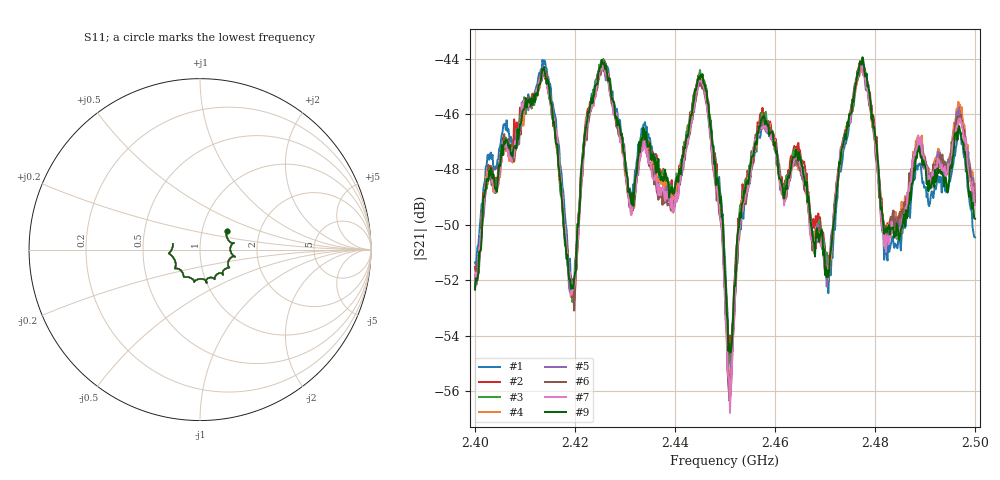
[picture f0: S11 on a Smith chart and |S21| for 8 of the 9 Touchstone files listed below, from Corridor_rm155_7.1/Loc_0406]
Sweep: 2.4 GHz to 2.5 GHz
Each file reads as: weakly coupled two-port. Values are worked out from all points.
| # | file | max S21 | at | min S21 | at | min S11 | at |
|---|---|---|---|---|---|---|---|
| 1 | Lab_139_1Ch1.s2p | -44.02 dB | 2.4257 GHz | -55.3 dB | 2.4512 GHz | -15.9 dB | 2.4902 GHz |
| 2 | Lab_139_2Ch1.s2p | -44.03 dB | 2.4257 GHz | -54.9 dB | 2.4512 GHz | -15.9 dB | 2.4903 GHz |
| 3 | Lab_139_3Ch1.s2p | -44.03 dB | 2.4257 GHz | -55.0 dB | 2.4508 GHz | -15.9 dB | 2.49 GHz |
| 4 | Lab_139_4Ch1.s2p | -44.27 dB | 2.4257 GHz | -55.5 dB | 2.4508 GHz | -15.9 dB | 2.49 GHz |
| 5 | Lab_139_5Ch1.s2p | -44.22 dB | 2.4255 GHz | -56.3 dB | 2.4508 GHz | -15.9 dB | 2.4898 GHz |
| 6 | Lab_139_7Ch1.s2p | -44.22 dB | 2.4255 GHz | -56.3 dB | 2.451 GHz | -15.9 dB | 2.4902 GHz |
| 7 | Lab_139_8Ch1.s2p | -44.17 dB | 2.477 GHz | -56.8 dB | 2.451 GHz | -15.9 dB | 2.4898 GHz |
| 8 | Lab_139_9Ch1.s2p | -44.23 dB | 2.4777 GHz | -56.1 dB | 2.451 GHz | -15.9 dB | 2.49 GHz |
| 9 | Lab_139_10Ch1.s2p | -43.95 dB | 2.4775 GHz | -54.6 dB | 2.4512 GHz | -15.9 dB | 2.49 GHz |
